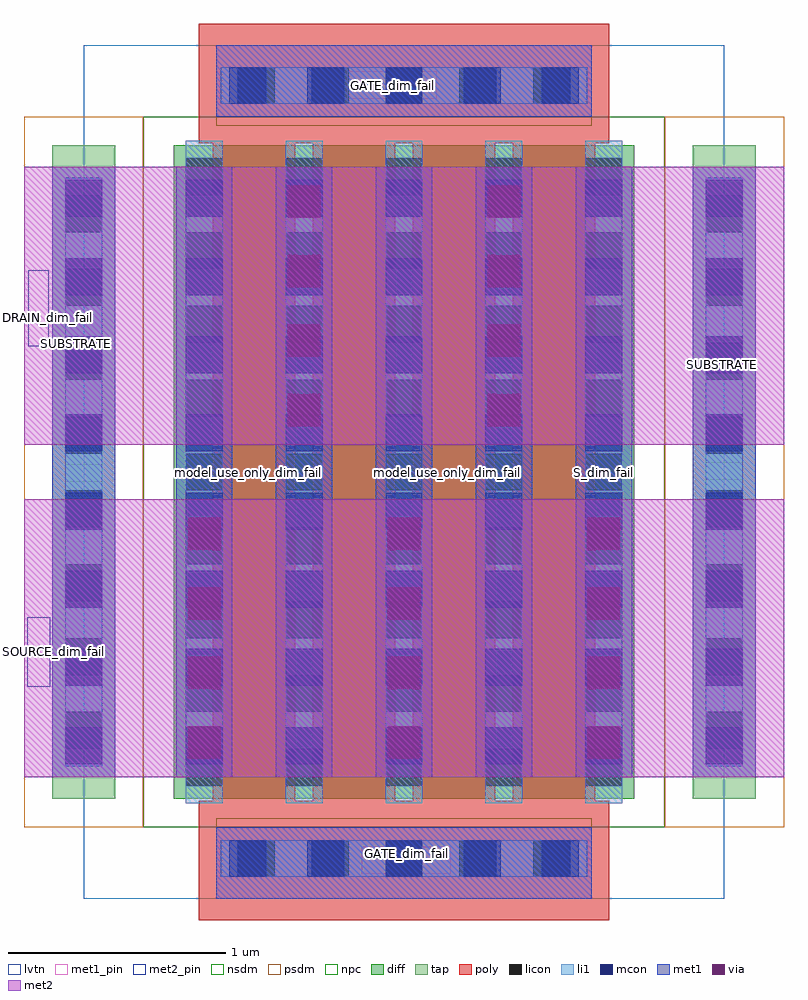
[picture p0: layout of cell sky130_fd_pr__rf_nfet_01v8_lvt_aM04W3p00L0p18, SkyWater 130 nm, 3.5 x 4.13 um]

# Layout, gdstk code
import gdstk
lib = gdstk.Library(unit=1e-6, precision=1e-09)
def R(c, l, rs):  # rectangles x0, y0, x1, y1
    for r in rs: c.add(gdstk.rectangle(r[:2], r[2:], *l))
def A(c, l, x, y, w, h, nx, ny, dx, dy):  # array of equal rectangles
    R(c, l, [(x+i*dx, y+j*dy, x+i*dx+w, y+j*dy+h) for i in range(nx) for j in range(ny)])
def P(c, l, *ps):  # polygons
    for p in ps: c.add(gdstk.Polygon(p, *l))
diff = (65, 20)
tap = (65, 44)
poly = (66, 20)
licon = (66, 44)
li1 = (67, 20)
mcon = (67, 44)
met1_pin = (68, 16)
met1 = (68, 20)
via = (68, 44)
met2_pin = (69, 16)
met2 = (69, 20)
nsdm = (93, 44)
psdm = (94, 20)
npc = (95, 20)
lvtn = (125, 44)

sky130_fd_pr__rf_nfet_01 = lib.new_cell('sky130_fd_pr__rf_nfet_01v8_lvt_aM04W3p00L0p18')
R(sky130_fd_pr__rf_nfet_01, diff, [(0.69,0.46,2.81,3.47)])
R(sky130_fd_pr__rf_nfet_01, tap, [(0.13,0.46,0.42,3.47), (3.08,0.46,3.37,3.47)])
P(sky130_fd_pr__rf_nfet_01, poly, [(0.805,-0.1),(0.805,0.45),(0.87,0.45),(0.87,3.48),(1.25,3.48),(1.25,0.45),(1.33,0.45),(1.33,3.48),(1.71,3.48),(1.71,0.45),(1.79,0.45),(1.79,3.48),(2.17,3.48),(2.17,0.45),(2.25,0.45),(2.25,3.48),(0.805,3.48),(0.805,4.03),(2.695,4.03),(2.695,3.48),(2.63,3.48),(2.63,0.45),(2.695,0.45),(2.695,-0.1)])
A(sky130_fd_pr__rf_nfet_01, licon, 0.985, 0.1, 0.17, 0.17, 5, 2, 0.34, 3.56)
A(sky130_fd_pr__rf_nfet_01, licon, 0.745, 0.52, 0.17, 0.17, 5, 9, 0.46, 0.34)
A(sky130_fd_pr__rf_nfet_01, licon, 0.19, 0.69, 0.17, 0.17, 1, 8, 0, 0.34)
A(sky130_fd_pr__rf_nfet_01, licon, 3.14, 0.69, 0.17, 0.17, 1, 8, 0, 0.34)
A(sky130_fd_pr__rf_nfet_01, li1, 0.745, 0.44, 0.17, 3.05, 5, 1, 0.46, 0)
A(sky130_fd_pr__rf_nfet_01, li1, 0.745, 0.62, 0.17, 2.69, 5, 1, 0.46, 0)
R(sky130_fd_pr__rf_nfet_01, li1, [(0.905,0.1,2.595,0.27), (0.945,0.1,2.555,0.27), (0.19,0.61,0.36,3.32), (3.14,0.61,3.31,3.32), (0.19,0.62,0.36,3.31), (3.14,0.62,3.31,3.31), (0.905,3.66,2.595,3.83), (0.945,3.66,2.555,3.83)])
A(sky130_fd_pr__rf_nfet_01, mcon, 0.945, 0.1, 0.17, 0.17, 5, 2, 0.36, 3.56)
A(sky130_fd_pr__rf_nfet_01, mcon, 0.19, 0.62, 0.17, 0.17, 1, 8, 0, 0.36)
A(sky130_fd_pr__rf_nfet_01, mcon, 0.745, 0.62, 0.17, 0.17, 5, 8, 0.46, 0.36)
A(sky130_fd_pr__rf_nfet_01, mcon, 3.14, 0.62, 0.17, 0.17, 1, 8, 0, 0.36)
R(sky130_fd_pr__rf_nfet_01, met1_pin, [(1.555,0.115,1.965,0.24), (0.19,1.92,0.36,2), (3.14,1.93,3.31,2.01), (1.49,3.685,1.9,3.81)])
A(sky130_fd_pr__rf_nfet_01, met1, 0.7, 0.56, 0.26, 2.81, 5, 1, 0.46, 0)
A(sky130_fd_pr__rf_nfet_01, met1, 0.7, 0.56, 0.26, 1.28, 3, 1, 0.92, 0)
R(sky130_fd_pr__rf_nfet_01, met1, [(0.885,0,2.615,0.33), (0.13,0.56,0.42,3.37), (3.08,0.56,3.37,3.37), (1.16,2.09,1.42,3.37), (2.08,2.09,2.34,3.37), (0.885,3.6,2.615,3.93)])
A(sky130_fd_pr__rf_nfet_01, via, 0.755, 0.645, 0.15, 0.15, 3, 4, 0.92, 0.32)
A(sky130_fd_pr__rf_nfet_01, via, 1.215, 2.175, 0.15, 0.15, 1, 4, 0, 0.32)
A(sky130_fd_pr__rf_nfet_01, via, 2.135, 2.175, 0.15, 0.15, 1, 4, 0, 0.32)
R(sky130_fd_pr__rf_nfet_01, met2_pin, [(0.015,0.975,0.12,1.295), (0.02,2.545,0.115,2.895)])
A(sky130_fd_pr__rf_nfet_01, met2, 0.7, 0.56, 0.26, 1.28, 3, 1, 0.92, 0)
R(sky130_fd_pr__rf_nfet_01, met2, [(0,0.56,3.5,1.84), (0,2.09,3.5,3.37), (1.16,2.09,1.42,3.37), (2.08,2.09,2.34,3.37)])
R(sky130_fd_pr__rf_nfet_01, nsdm, [(0.55,0.33,2.95,3.6)])
R(sky130_fd_pr__rf_nfet_01, psdm, [(0,0.33,0.55,3.6), (2.95,0.33,3.5,3.6)])
R(sky130_fd_pr__rf_nfet_01, npc, [(0.885,0,2.615,0.37), (0.885,3.56,2.615,3.93)])
R(sky130_fd_pr__rf_nfet_01, lvtn, [(0.275,0,3.225,3.93)])
sky130_fd_pr__rf_nfet_01.add(gdstk.Label('model_use_only_dim_fail', (1.035,1.965), layer=66, texttype=83))
sky130_fd_pr__rf_nfet_01.add(gdstk.Label('model_use_only_dim_fail', (1.495,1.965), layer=66, texttype=83))
sky130_fd_pr__rf_nfet_01.add(gdstk.Label('model_use_only_dim_fail', (1.95,1.965), layer=66, texttype=83))
sky130_fd_pr__rf_nfet_01.add(gdstk.Label('model_use_only_dim_fail', (2.415,1.965), layer=66, texttype=83))
sky130_fd_pr__rf_nfet_01.add(gdstk.Label('S_dim_fail', (0.83,1.965), layer=83, texttype=44))
sky130_fd_pr__rf_nfet_01.add(gdstk.Label('S_dim_fail', (1.75,1.965), layer=83, texttype=44))
sky130_fd_pr__rf_nfet_01.add(gdstk.Label('D_dim_fail', (1.29,1.965), layer=83, texttype=44))
sky130_fd_pr__rf_nfet_01.add(gdstk.Label('S_dim_fail', (2.67,1.965), layer=83, texttype=44))
sky130_fd_pr__rf_nfet_01.add(gdstk.Label('S_dim_fail', (0.83,1.965), layer=83, texttype=44))
sky130_fd_pr__rf_nfet_01.add(gdstk.Label('S_dim_fail', (2.21,1.965), layer=83, texttype=44))
sky130_fd_pr__rf_nfet_01.add(gdstk.Label('S_dim_fail', (1.75,1.965), layer=83, texttype=44))
sky130_fd_pr__rf_nfet_01.add(gdstk.Label('S_dim_fail', (1.29,1.965), layer=83, texttype=44))
sky130_fd_pr__rf_nfet_01.add(gdstk.Label('D_dim_fail', (2.21,1.965), layer=83, texttype=44))
sky130_fd_pr__rf_nfet_01.add(gdstk.Label('DRAIN_dim_fail', (0.11,2.675), layer=69, texttype=5))
sky130_fd_pr__rf_nfet_01.add(gdstk.Label('SOURCE_dim_fail', (0.095,1.14), layer=69, texttype=5))
sky130_fd_pr__rf_nfet_01.add(gdstk.Label('GATE_dim_fail', (1.76,0.21), layer=68, texttype=5))
sky130_fd_pr__rf_nfet_01.add(gdstk.Label('GATE_dim_fail', (1.695,3.745), layer=68, texttype=5))
sky130_fd_pr__rf_nfet_01.add(gdstk.Label('SUBSTRATE', (0.24,2.555), layer=68, texttype=5))
sky130_fd_pr__rf_nfet_01.add(gdstk.Label('SUBSTRATE', (3.215,2.46), layer=68, texttype=5))

lib.write_gds('sky130_fd_pr__rf_nfet_01v8_lvt_aM04W3p00L0p18.gds')
